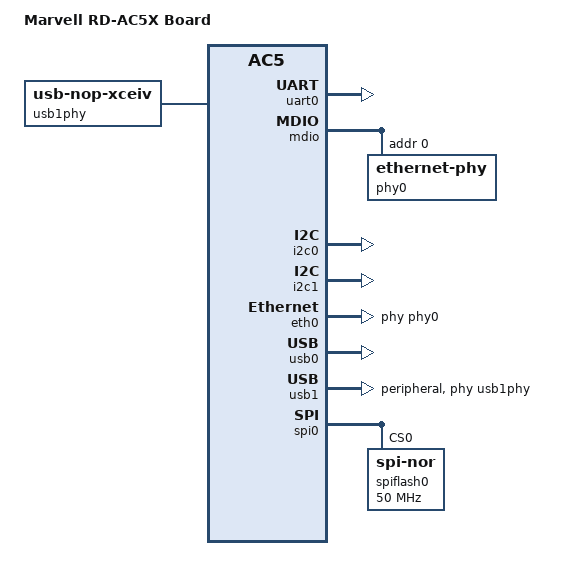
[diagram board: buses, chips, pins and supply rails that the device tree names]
// SPDX-License-Identifier: (GPL-2.0+ OR MIT)
/*
 * Device Tree For RD-AC5X.
 *
 * Copyright (C) 2021 Marvell
 * Copyright (C) 2022 Allied Telesis Labs
 */
/*
 * Device Tree file for Marvell Alleycat 5X development board
 * This board file supports the B configuration of the board
 */

/dts-v1/;

#include "ac5-98dx35xx.dtsi"

/ {
	model = "Marvell RD-AC5X Board";
	compatible = "marvell,rd-ac5x", "marvell,ac5x", "marvell,ac5";

	aliases {
		serial0 = &uart0;
		spiflash0 = &spiflash0;
		gpio0 = &gpio0;
		gpio1 = &gpio1;
		ethernet0 = &eth0;
		ethernet1 = &eth1;
		spi0 = &spi0;
		i2c0 = &i2c0;
		i2c1 = &i2c1;
		usb0 = &usb0;
		usb1 = &usb1;
		pinctrl0 = &pinctrl0;
	};

	usb1phy: usb-phy {
		compatible = "usb-nop-xceiv";
		#phy-cells = <0>;
	};

	chosen {
		stdout-path = "serial0:115200n8";
	};
};

&uart0 {
	status = "okay";
};

&mdio {
	phy0: ethernet-phy@0 {
	      reg = <0>;
	};
};

&i2c0 {
	status = "okay";
};

&i2c1 {
	status = "okay";
};

&eth0 {
	status = "okay";
	phy-handle = <&phy0>;
};

/* USB0 is a host USB */
&usb0 {
	status = "okay";
};

/* USB1 is a peripheral USB */
&usb1 {
	status = "okay";
	phys = <&usb1phy>;
	phy-names = "usb-phy";
	dr_mode = "peripheral";
};

&spi0 {
	status = "okay";

	spiflash0: flash@0 {
		compatible = "jedec,spi-nor";
		spi-max-frequency = <50000000>;
		spi-tx-bus-width = <1>; /* 1-single, 2-dual, 4-quad */
		spi-rx-bus-width = <1>; /* 1-single, 2-dual, 4-quad */
		reg = <0>;

		#address-cells = <1>;
		#size-cells = <1>;
	};
};

&pinctrl0 {
	/*
	 * MPP Bus:     MPP#     mode#
	 * eMMC          [0-11]   0x1
	 * SPI[0]        [12-17]  0x1
	 * TSEN_INT      [18]     0x1
	 * DEV_INIT      [19]     0x1
	 * SPI[1]        [20-23]  0x3
	 * UART[1]       [24-25]  0x3
	 * I2C[0]        [26-27]  0x1
	 * XSMI[0]       [28-29]  0x1 // SCH use SMI[0], reversed due to CPSS problem
	 * SMI[1]        [30-31]  0x2 // SCH use XSMI[1], reversed due to CPSS problem
	 * UART[0]       [32-33]  0x1
	 * OOB_SMI       [34-35]  0x1
	 * PTP_CLK0_OUT  [36]     0x1
	 * PTP_PULSE_OUT [37]     0x1
	 * RCVR_CLK_OUT  [38]     0x1
	 * GPIO(in/out)  [39]     0x0
	 * GPIO(in/out)  [40]     0x0
	 * PTP_REF_CLK   [41]     0x1
	 * PTP_CLK0      [42]     0x1
	 * LED0_CLK      [43]     0x1
	 * LED0_STB      [44]     0x1
	 * LED0_DATA     [45]     0x1
	 */
	/*	     0    1    2    3    4    5    6    7    8    9 */
	pin-func = < 1    1    1    1    1    1    1    1    1    1
		     1    1    1    1    1    1    1    1    1    1
		     3    3    3    3    3    3    1    1    1    1
		     2    2    1    1    1    1    1    1    1    0
		     0    1    1    1    1    1    >;
};
